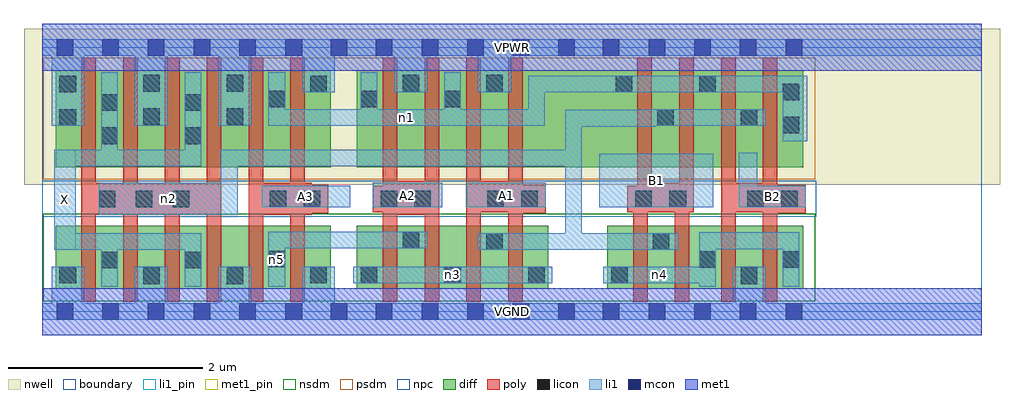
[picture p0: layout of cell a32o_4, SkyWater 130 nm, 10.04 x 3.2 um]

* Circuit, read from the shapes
.subckt a32o_4 A1 A2 A3 B1 B2 VGND VPWR X n1 n2 n3 n4 n5
XM1 X n2 VGND VSUBS sky130_fd_pr__nfet_01v8 w=0.65 l=0.15 m=4
XM2 n5 A3 VGND VSUBS sky130_fd_pr__nfet_01v8 w=0.65 l=0.15 m=2
XM3 n5 A2 n3 VSUBS sky130_fd_pr__nfet_01v8 w=0.65 l=0.15 m=2
XM4 n2 A1 n3 VSUBS sky130_fd_pr__nfet_01v8 w=0.65 l=0.15 m=2
XM5 n2 B1 n4 VSUBS sky130_fd_pr__nfet_01v8 w=0.65 l=0.15 m=2
XM6 VGND B2 n4 VSUBS sky130_fd_pr__nfet_01v8 w=0.65 l=0.15 m=2
XM7 X n2 VPWR n6 sky130_fd_pr__pfet_01v8 w=1 l=0.15 m=4
XM8 n1 A3 VPWR n6 sky130_fd_pr__pfet_01v8 w=1 l=0.15 m=2
XM9 VPWR A2 n1 n6 sky130_fd_pr__pfet_01v8 w=1 l=0.15 m=2
XM10 VPWR A1 n1 n6 sky130_fd_pr__pfet_01v8 w=1 l=0.15 m=2
XM11 n2 B1 n1 n6 sky130_fd_pr__pfet_01v8 w=1 l=0.15 m=2
XM12 n2 B2 n1 n6 sky130_fd_pr__pfet_01v8 w=1 l=0.15 m=2
.ends

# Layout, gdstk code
import gdstk
lib = gdstk.Library(unit=1e-6, precision=1e-09)
def R(c, l, rs):  # rectangles x0, y0, x1, y1
    for r in rs: c.add(gdstk.rectangle(r[:2], r[2:], *l))
def A(c, l, x, y, w, h, nx, ny, dx, dy):  # array of equal rectangles
    R(c, l, [(x+i*dx, y+j*dy, x+i*dx+w, y+j*dy+h) for i in range(nx) for j in range(ny)])
nwell = (64, 20)
diff = (65, 20)
poly = (66, 20)
licon = (66, 44)
li1_pin = (67, 16)
li1 = (67, 20)
mcon = (67, 44)
met1_pin = (68, 16)
met1 = (68, 20)
nsdm = (93, 44)
psdm = (94, 20)
npc = (95, 20)
boundary = (235, 4)

a32o_4 = lib.new_cell('a32o_4')
R(a32o_4, nwell, [(-0.19,1.305,9.85,2.91), (0,1.305,9.66,2.91)])
R(a32o_4, diff, [(0.135,0.235,2.965,0.885), (3.235,0.235,5.205,0.885), (5.81,0.235,7.825,0.885), (0.135,1.485,2.965,2.485), (3.235,1.485,7.825,2.485)])
A(a32o_4, poly, 0.4, 0.105, 0.15, 2.51, 6, 1, 0.43, 0)
A(a32o_4, poly, 3.5, 0.105, 0.15, 2.51, 4, 1, 0.43, 0)
R(a32o_4, poly, [(6.075,0.105,6.225,1.295), (6.505,0.105,6.55,1.325), (6.55,0.105,6.655,2.615), (6.98,0.105,7.13,2.615), (7.41,0.105,7.56,2.615), (0.4,0.995,1.84,1.325), (2.12,0.995,2.77,1.325), (3.5,0.995,4.08,1.345), (2.12,1.015,2.94,1.305), (4.79,1.015,5.175,1.305), (7.41,1.015,7.85,1.305), (3.395,1.025,4.08,1.295), (4.36,1.025,4.94,1.345), (6.015,1.025,6.7,1.295), (6.12,1.025,6.27,2.615), (6.12,1.025,6.7,1.325), (6.55,1.025,6.7,2.615), (6.98,1.025,7.56,1.325)])
A(a32o_4, licon, 3.275, 0.295, 0.17, 0.17, 3, 1, 0.86, 0)
A(a32o_4, licon, 0.58, 1.075, 0.17, 0.17, 3, 1, 0.38, 0)
R(a32o_4, licon, [(1.035,0.285,1.205,0.455), (1.895,0.285,2.065,0.455), (7.185,0.285,7.355,0.455), (0.175,0.295,0.345,0.465), (2.755,0.295,2.925,0.465), (5.85,0.295,6.02,0.465), (0.605,0.445,0.775,0.615), (1.465,0.445,1.635,0.615), (6.755,0.45,6.925,0.62), (7.615,0.45,7.785,0.62), (2.325,0.455,2.495,0.625), (4.565,0.635,4.735,0.805), (6.28,0.635,6.45,0.805), (3.705,0.655,3.875,0.825), (2.34,1.075,2.51,1.245), (2.69,1.075,2.86,1.245), (3.48,1.075,3.65,1.245), (3.825,1.075,3.995,1.245), (4.575,1.075,4.745,1.245), (4.925,1.075,5.095,1.245), (6.1,1.075,6.27,1.245), (6.45,1.075,6.62,1.245), (7.25,1.075,7.42,1.245), (7.6,1.075,7.77,1.245), (0.605,1.725,0.775,1.895), (1.465,1.725,1.635,1.895), (7.615,1.835,7.785,2.005), (0.175,1.915,0.345,2.085), (6.325,1.915,6.495,2.085), (7.185,1.915,7.355,2.085), (1.035,1.925,1.205,2.095), (1.895,1.925,2.065,2.095), (0.605,2.065,0.775,2.235), (1.465,2.065,1.635,2.235), (2.325,2.105,2.495,2.275), (3.275,2.105,3.445,2.275), (4.135,2.105,4.305,2.275), (7.615,2.175,7.785,2.345), (0.175,2.255,0.345,2.425), (2.755,2.255,2.925,2.425), (5.895,2.255,6.065,2.425), (6.755,2.255,6.925,2.425), (1.035,2.265,1.205,2.435), (1.895,2.265,2.065,2.435), (3.705,2.265,3.875,2.435), (4.565,2.265,4.735,2.435)])
R(a32o_4, li1_pin, [(0.12,0.635,0.34,1.665), (2.255,1.075,3.165,1.295), (3.395,1.075,4.11,1.325), (4.365,1.075,5.175,1.325), (5.73,1.075,6.9,1.625), (7.16,1.075,7.85,1.295)])
R(a32o_4, li1, [(0,-0.085,9.66,0.085), (0.095,-0.085,0.43,0.465), (0.95,-0.085,1.29,0.465), (1.81,-0.085,2.15,0.465), (2.67,-0.085,3.005,0.465), (7.1,-0.085,7.44,0.465), (0.605,0.255,0.775,0.805), (1.465,0.255,1.635,0.805), (2.325,0.255,2.495,0.825), (6.755,0.255,6.925,0.815), (7.615,0.255,7.785,0.815), (3.195,0.295,5.245,0.465), (5.77,0.295,6.925,0.465), (0.12,0.635,1.635,0.805), (0.12,0.635,0.34,1.665), (4.48,0.635,6.54,0.805), (5.38,0.635,5.55,2.075), (6.755,0.645,7.785,0.815), (2.325,0.655,3.96,0.825), (0.58,0.995,2.01,1.325), (1.835,0.995,2.01,1.665), (2.255,1.075,3.165,1.295), (3.395,1.075,4.11,1.325), (4.365,1.075,5.175,1.325), (5.73,1.075,6.9,1.625), (7.16,1.075,7.85,1.295), (7.16,1.075,7.355,1.635), (0.12,1.495,1.635,1.665), (0.605,1.495,0.775,2.465), (1.465,1.495,1.635,2.465), (1.835,1.495,5.55,1.665), (7.615,1.755,7.865,2.425), (5.38,1.905,6.31,1.915), (0.095,1.915,0.43,2.805), (0.95,1.915,1.29,2.805), (1.81,1.915,2.15,2.805), (2.325,1.915,2.495,2.465), (2.325,1.915,5.165,2.085), (3.275,1.915,3.445,2.465), (4.135,1.915,4.305,2.465), (4.995,1.915,5.165,2.425), (5.38,1.915,7.44,2.075), (6.24,1.915,7.44,2.085), (2.67,2.255,3.005,2.805), (3.62,2.255,3.96,2.805), (4.48,2.255,4.82,2.805), (4.995,2.255,7.865,2.425), (0,2.635,9.66,2.805)])
A(a32o_4, mcon, 0.145, -0.085, 0.17, 0.17, 5, 2, 0.47, 2.72)
A(a32o_4, mcon, 2.5, -0.085, 0.17, 0.17, 3, 2, 0.465, 2.72)
A(a32o_4, mcon, 3.9, -0.085, 0.17, 0.17, 3, 2, 0.47, 2.72)
A(a32o_4, mcon, 5.765, -0.085, 0.17, 0.17, 5, 2, 0.47, 2.72)
R(a32o_4, mcon, [(5.305,-0.085,5.475,0.085), (5.305,2.635,5.475,2.805)])
R(a32o_4, met1_pin, [(0,-0.24,9.66,0.24), (0,2.48,9.66,2.96)])
R(a32o_4, met1, [(0,-0.24,9.66,0.24), (0,2.48,9.66,2.96)])
R(a32o_4, nsdm, [(0.01,0.11,7.95,1.01)])
R(a32o_4, psdm, [(0.01,1.36,7.95,2.61)])
R(a32o_4, npc, [(0,0.975,7.96,1.345)])
R(a32o_4, boundary, [(0,0,9.66,2.72)])
a32o_4.add(gdstk.Label('A1', (4.77,1.2), layer=67, texttype=5))
a32o_4.add(gdstk.Label('A2', (3.752,1.2), layer=67, texttype=5))
a32o_4.add(gdstk.Label('A3', (2.71,1.185), layer=67, texttype=5))
a32o_4.add(gdstk.Label('B1', (6.315,1.35), layer=67, texttype=5))
a32o_4.add(gdstk.Label('B2', (7.505,1.185), layer=67, texttype=5))
a32o_4.add(gdstk.Label('X', (0.23,1.15), layer=67, texttype=5))
a32o_4.add(gdstk.Label('n3', (4.22,0.38), layer=67, texttype=5))
a32o_4.add(gdstk.Label('n4', (6.347,0.38), layer=67, texttype=5))
a32o_4.add(gdstk.Label('n5', (2.41,0.54), layer=67, texttype=5))
a32o_4.add(gdstk.Label('n2', (1.295,1.16), layer=67, texttype=5))
a32o_4.add(gdstk.Label('n1', (3.745,2), layer=67, texttype=5))
a32o_4.add(gdstk.Label('VPWR', (4.83,2.72), layer=68, texttype=5))
a32o_4.add(gdstk.Label('VGND', (4.83,0), layer=68, texttype=5))
a32o_4.add(gdstk.Label('A1', (4.77,1.2), layer=67, texttype=16))
a32o_4.add(gdstk.Label('A2', (3.752,1.2), layer=67, texttype=16))
a32o_4.add(gdstk.Label('A3', (2.71,1.185), layer=67, texttype=16))
a32o_4.add(gdstk.Label('B1', (6.315,1.35), layer=67, texttype=16))
a32o_4.add(gdstk.Label('B2', (7.505,1.185), layer=67, texttype=16))
a32o_4.add(gdstk.Label('X', (0.23,1.15), layer=67, texttype=16))
a32o_4.add(gdstk.Label('VPWR', (4.83,2.72), layer=68, texttype=16))
a32o_4.add(gdstk.Label('VGND', (4.83,0), layer=68, texttype=16))

lib.write_gds('a32o_4.gds')
